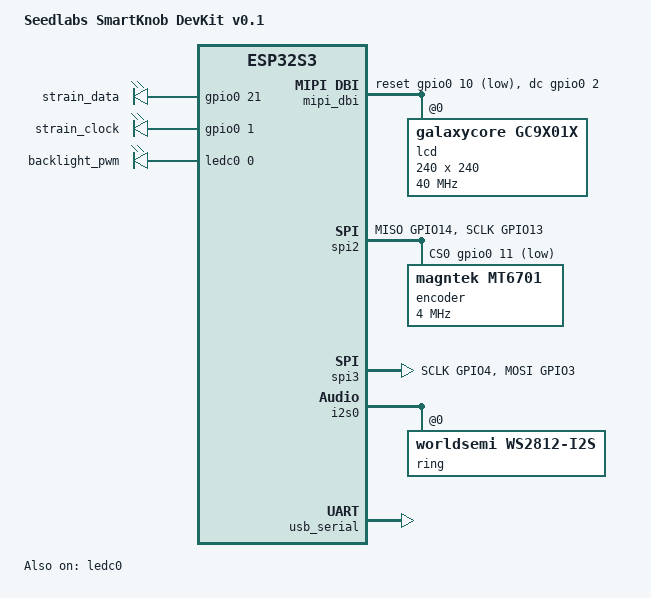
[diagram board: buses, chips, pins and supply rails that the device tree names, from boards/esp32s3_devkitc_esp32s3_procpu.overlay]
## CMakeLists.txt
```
cmake_minimum_required(VERSION 3.24)
# LVGL comes from Zephyr's own module (CONFIG_LVGL=y), configured in prj.conf.
set(ZEPHYR_MODULES "${CMAKE_CURRENT_LIST_DIR}/../../modules/hal/espressif"
  "${CMAKE_CURRENT_LIST_DIR}/../../modules/lib/gui/lvgl")
list(APPEND DTS_ROOT ${CMAKE_CURRENT_LIST_DIR})
find_package(Zephyr REQUIRED HINTS $ENV{ZEPHYR_BASE})
project(smartknob)
target_include_directories(app PRIVATE ../core/include src)
target_sources(app PRIVATE src/main.c src/motor.c src/sensors.c src/storage.c
  ../core/src/project.c ../core/src/haptics.c ../core/src/leds.c
  ../core/src/protocol.c ../core/src/render.c ../core/src/encoder.c
  ../core/src/motor_control.c)
```

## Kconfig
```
mainmenu "SmartKnob"
source "Kconfig.zephyr"
config SK_PRESS_THRESHOLD
    int "HX711 press threshold in raw ADC counts"
    default 50000
    range 100 8000000
config SK_MOTOR_DEADTIME_NS
    int "Motor gate dead time in nanoseconds"
    default 500
    range 250 1500
config SK_MOTOR_SUPPLY_MV
    int "Motor driver supply voltage in millivolts"
    default 5000
    range 3000 12000
    help
      Supply assumed by voltage-mode FOC when converting requested phase
      voltages to PWM duty. The Dev Kit drives the TMC6300 from USB 5 V.
config SK_MOTOR_CALIBRATION_MV
    int "Calibration alignment vector in millivolts"
    default 2000
    range 500 3000
    help
      d-axis voltage used to drag the rotor during calibration. Too little
      lets cogging and friction stop the rotor; the simulation in
      tests/motor_sim.c calibrates reliably from 2 V. No current sensing:
      the stall current is roughly this voltage over the phase resistance.
config SK_ENCODER_LOSS_POLICY
    int "MT6701 tracking-loss frame policy"
    default 1
    range 0 2
    help
      0: reject every CRC-valid frame that flags loss of tracking.
      1: accept it while its angle continues the last accepted angle and a
         clean frame arrived within the last 200 ms.
      2: accept it while its angle continues the last accepted angle; the
         factory firmware ignores the flag entirely.
      Rejected frames always turn the gates off for that period.
config SK_MOTOR_CONTINUOUS_MV
    int "Highest sustained motor voltage in millivolts (0 disables)"
    default 1500
    range 0 2500
    help
      Without current sensing the firmware estimates winding heating from
      the applied voltage (V^2, 4 s time constant). When it exceeds this
      rating, haptic torque tapers down to it, so holding an end stop at
      full force cannot heat the motor indefinitely. Clicks and press
      pulses are too short to trigger it; it recovers when the knob rests.
```

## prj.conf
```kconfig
CONFIG_GPIO=y
CONFIG_SPI=y
CONFIG_I2S=y
CONFIG_DMA=y
CONFIG_LED_STRIP=y
CONFIG_DISPLAY=y
# Zephyr's LVGL module. Draw buffer: 10% of the 240x240 panel at 16 bpp.
CONFIG_LVGL=y
CONFIG_LV_Z_BITS_PER_PIXEL=16
CONFIG_LV_Z_VDB_SIZE=10
CONFIG_LV_Z_MEM_POOL_SIZE=65536
# GC9A01 expects big-endian RGB565; the panel reports PIXEL_FORMAT_RGB_565.
CONFIG_LV_COLOR_16_SWAP=y
CONFIG_LV_FONT_MONTSERRAT_14=n
CONFIG_LV_FONT_MONTSERRAT_16=y
CONFIG_LV_FONT_MONTSERRAT_24=y
CONFIG_LV_FONT_MONTSERRAT_32=y
CONFIG_LV_FONT_DEFAULT_MONTSERRAT_16=y
CONFIG_LV_USE_LOG=n
CONFIG_LV_USE_THORVG_INTERNAL=n
CONFIG_LV_USE_VECTOR_GRAPHIC=n
CONFIG_SERIAL=y
CONFIG_UART_INTERRUPT_DRIVEN=y
CONFIG_CONSOLE=n
CONFIG_UART_CONSOLE=n
CONFIG_LOG=n
CONFIG_FLASH=y
CONFIG_FLASH_MAP=y
# Zephyr 4.5 no longer derives the image-header flash size from the module.
CONFIG_ESPTOOLPY_FLASHSIZE_16MB=y
CONFIG_NVS=y
CONFIG_NVS_DATA_CRC=y
CONFIG_PWM=y
CONFIG_MCPWM_ESP32=n
CONFIG_FPU=y
CONFIG_FPU_SHARING=y
CONFIG_PICOLIBC=y
CONFIG_MAIN_STACK_SIZE=8192
CONFIG_MAIN_THREAD_PRIORITY=7
CONFIG_SYSTEM_WORKQUEUE_STACK_SIZE=2048
CONFIG_HEAP_MEM_POOL_SIZE=8192
CONFIG_SYS_CLOCK_TICKS_PER_SEC=1000
CONFIG_ESP_SPIRAM=n
CONFIG_WIFI=n
CONFIG_BT=n
CONFIG_WATCHDOG=y
```

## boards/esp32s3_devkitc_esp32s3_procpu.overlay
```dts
#include <zephyr/dt-bindings/display/panel.h>
#include <zephyr/dt-bindings/led/led.h>
#include <zephyr/dt-bindings/pwm/pwm.h>
/ {
    model = "Seedlabs SmartKnob DevKit v0.1";
    chosen { zephyr,display = &lcd; };
    aliases { led-strip = &ring; };
    strain {
        compatible = "gpio-leds";
        strain_data: data { gpios = <&gpio0 21 GPIO_ACTIVE_HIGH>; };
        strain_clock: clock { gpios = <&gpio0 1 GPIO_ACTIVE_HIGH>; };
    };
    backlight { compatible = "pwm-leds"; backlight_pwm: backlight { pwms = <&ledc0 0 PWM_USEC(25) PWM_POLARITY_NORMAL>; }; };
    mipi_dbi {
        compatible = "zephyr,mipi-dbi-spi";
        #address-cells = <1>;
        #size-cells = <0>;
        spi-dev = <&spi3>;
        dc-gpios = <&gpio0 2 GPIO_ACTIVE_HIGH>;
        reset-gpios = <&gpio0 10 GPIO_ACTIVE_LOW>;
        lcd: display@0 {
            compatible = "galaxycore,gc9x01x";
            reg = <0>;
            mipi-max-frequency = <40000000>;
            pixel-format = <PANEL_PIXEL_FORMAT_RGB_565>;
            width = <240>;
            height = <240>;
            display-inversion;
        };
    };
};
&pinctrl {
    knob_encoder: encoder {
        group1 { pinmux = <SPIM2_MISO_GPIO14>, <SPIM2_SCLK_GPIO13>; };
    };
    knob_display: display {
        group1 { pinmux = <SPIM3_SCLK_GPIO4>; };
        group2 { pinmux = <SPIM3_MOSI_GPIO3>; output-low; };
    };
    knob_leds: leds {
        group1 { pinmux = <I2S0_O_SD_GPIO12>, <I2S0_O_WS_GPIO40>, <I2S0_O_BCK_GPIO41>; };
    };
    knob_backlight: backlight {
        group1 { pinmux = <LEDC_CH0_GPIO5>; output-low; };
    };
};
&spi2 {
    status = "okay";
    pinctrl-0 = <&knob_encoder>;
    cs-gpios = <&gpio0 11 GPIO_ACTIVE_LOW>;
    encoder: encoder@0 { compatible = "magntek,mt6701"; reg = <0>; spi-max-frequency = <4000000>; spi-cs-setup-delay-ns = <1000>; };
};
&spi3 {
    status = "okay";
    pinctrl-0 = <&knob_display>;
    cs-gpios = <&gpio0 9 GPIO_ACTIVE_LOW>;
};
&i2s0 {
    status = "okay";
    pinctrl-0 = <&knob_leds>;
    #address-cells = <1>;
    #size-cells = <0>;
    ring: led_strip@0 {
        reg = <0>;
        compatible = "worldsemi,ws2812-i2s";
        chain-length = <72>;
        color-mapping = <LED_COLOR_ID_GREEN LED_COLOR_ID_RED LED_COLOR_ID_BLUE>;
        reset-delay = <80>;
        nibble-one = <0x0c>;
        nibble-zero = <0x08>;
        lrck-period = <10>;
    };
};
&ledc0 {
    status = "okay";
    pinctrl-0 = <&knob_backlight>;
    pinctrl-names = "default";
    #address-cells = <1>;
    #size-cells = <0>;
    channel@0 { reg = <0>; timer = <0>; };
};
&usb_serial { status = "okay"; };
&usb_otg { status = "disabled"; };
&uart0 { status = "disabled"; };
&wifi { status = "disabled"; };
&esp32_bt_hci { status = "disabled"; };
&psram0 { size = <DT_SIZE_M(8)>; };
/* Zephyr 4.5 boards declare flash themselves; reg and ranges must match. */
&flash0 {
    reg = <0x0 DT_SIZE_M(16)>;
    ranges = <0x0 0x0 DT_SIZE_M(16)>;
    partitions {
        /delete-node/ partition@3b0000;
        storage_partition: partition@f00000 { label = "storage"; reg = <0xf00000 0x40000>; };
    };
};

&dma { status = "okay"; };
```

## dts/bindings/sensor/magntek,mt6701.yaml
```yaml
description: MagnTek MT6701 24-bit SSI absolute angle encoder
compatible: "magntek,mt6701"
include: spi-device.yaml
```

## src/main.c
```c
#include "hardware.h"
#include "sk_protocol.h"
#include "sk_render.h"
#include <string.h>
#include <zephyr/drivers/display.h>
#include <zephyr/drivers/led_strip.h>
#include <zephyr/drivers/pwm.h>
#include <zephyr/drivers/uart.h>
#include <zephyr/drivers/watchdog.h>
#include <zephyr/sys/atomic.h>
#include <zephyr/sys/ring_buffer.h>

static sk_project projects[2];
static unsigned active;
static const sk_view *view;
static sk_renderer renderer;
static sk_protocol protocol;
static uint8_t system_faults;
static bool motor_ready, strain_ready;
static uint16_t presses;
static uint32_t flash_until;
static const struct device *serial = DEVICE_DT_GET(DT_NODELABEL(usb_serial));
static const struct device *strip = DEVICE_DT_GET(DT_ALIAS(led_strip));
static const struct device *display = DEVICE_DT_GET(DT_CHOSEN(zephyr_display));
/* Zephyr's LVGL module creates the display, draw buffers and tick source,
 * and LV_COLOR_16_SWAP byte-swaps RGB565 for the GC9A01 before each flush.
 * Its own flush ignores display_write() errors, so this one records them. */
static void display_flush(lv_display_t *disp, const lv_area_t *area, uint8_t *map) {
    struct display_buffer_descriptor desc = {.width = lv_area_get_width(area),
                                             .height = lv_area_get_height(area),
                                             .frame_incomplete = !lv_display_flush_is_last(disp)};
    desc.pitch = desc.width;
    desc.buf_size = desc.width * desc.height * 2;
    if (display_write(display, area->x1, area->y1, &desc, map))
        system_faults |= FAULT_DISPLAY;
    lv_display_flush_ready(disp);
}
static const struct pwm_dt_spec backlight = PWM_DT_SPEC_GET(DT_NODELABEL(backlight_pwm));
RING_BUF_DECLARE(serial_rx, 8192);
static atomic_t rx_overflow;
static void serial_isr(const struct device *dev, void *arg) {
    (void)arg;
    uart_irq_update(dev);
    while (uart_irq_rx_ready(dev)) {
        uint8_t bytes[64];
        int n = uart_fifo_read(dev, bytes, sizeof(bytes));
        if (n <= 0)
            break;
        if (ring_buf_put(&serial_rx, bytes, n) != (uint32_t)n)
            atomic_set(&rx_overflow, 1);
    }
}
static void send(void *ctx, const uint8_t *bytes, size_t len) {
    (void)ctx;
    for (size_t i = 0; i < len; i++)
        uart_poll_out(serial, bytes[i]);
}
typedef struct {
    sk_led_config leds;
    sk_haptic_config haptic;
    int32_t position;
    float sub;
    uint32_t flash;
} led_state;
static led_state ring_state;
static struct k_spinlock led_lock;
static atomic_t led_fault;
static struct k_thread led_thread;
K_THREAD_STACK_DEFINE(led_stack, 2048);
static void led_run(void *a, void *b, void *c) {
    (void)a;
    (void)b;
    (void)c;
    while (true) {
        led_state s;
        k_spinlock_key_t key = k_spin_lock(&led_lock);
        s = ring_state;
        k_spin_unlock(&led_lock, key);
        sk_rgb colors[72];
        struct led_rgb pixels[72];
        sk_led_render(&s.leds, &s.haptic, s.position, s.sub, k_uptime_get_32(), s.flash, colors);
        for (int i = 0; i < 72; i++)
            pixels[i] = (struct led_rgb){.r = colors[i].r, .g = colors[i].g, .b = colors[i].b};
        atomic_set(&led_fault, led_strip_update_rgb(strip, pixels, 72) != 0);
        k_sleep(K_MSEC(33));
    }
}
static bool select_view(uint16_t id) {
    const sk_view *next = sk_find_view(&projects[active], id);
    if (!next)
        return false;
    motor_status s;
    motor_snapshot(&s);
    if (s.calibration == 1)
        return false;
    if (motor_ready && !motor_configure(&next->haptic))
        return false;
    view = next;
    sk_render_view(&renderer, view);
    if (view->leds.mode_flash)
        flash_until = k_uptime_get_32() + 180;
    return true;
}
static bool apply(void *ctx, const uint8_t *bytes, size_t len) {
    (void)ctx;
    motor_status s;
    motor_snapshot(&s);
    if (s.calibration == 1)
        return false;
    unsigned next = 1 - active;
    if (!sk_project_decode(bytes, len, &projects[next]))
        return false;
    /* Stay on the current view so live edits don't jump around, and only
     * reconfigure the motor (which resets position) if its haptics changed. */
    const sk_view *new_view = sk_view_after_upload(&projects[next], view ? view->id : 0);
    bool same_view = view && new_view->id == view->id;
    bool same_haptics = same_view && sk_haptic_equal(&new_view->haptic, &view->haptic);
    if (motor_ready && !same_haptics) {
        /* Editing the shown view's haptics keeps the knob's position. */
        sk_haptic_config config =
            same_view ? sk_haptic_with_position(&new_view->haptic, s.position) : new_view->haptic;
        if (!motor_configure(&config))
            return false;
    }
    active = next;
    view = new_view;
    sk_render_view(&renderer, view);
    if (!same_view && view->leds.mode_flash)
        flash_until = k_uptime_get_32() + 180;
    return true;
}
static bool save(void *ctx, const uint8_t *bytes, size_t len) {
    (void)ctx;
    motor_status s;
    motor_snapshot(&s);
    if (s.calibration == 1)
        return false;
    if (motor_ready && !motor_pause(true))
        return false;
    bool ok = storage_save(bytes, len);
    if (motor_ready)
        motor_pause(false);
    if (!ok)
        system_faults |= FAULT_STORAGE;
    return ok;
}
static void put32(uint8_t *p, uint32_t v) {
    for (int i = 0; i < 4; i++)
        p[i] = v >> (8 * i);
}
static void putfloat(uint8_t *p, float v) {
    uint32_t bits;
    memcpy(&bits, &v, 4);
    put32(p, bits);
}
static uint8_t command(void *ctx, uint8_t op, const uint8_t *bytes, size_t len, uint8_t *out,
                       size_t *out_len) {
    (void)ctx;
    if (op == SK_SELECT) {
        if (len != 2)
            return SK_INVALID;
        return select_view(bytes[0] | ((uint16_t)bytes[1] << 8)) ? SK_OK : SK_BUSY;
    }
    if (len)
        return SK_INVALID;
    if (op == SK_ENCODER_DIAGNOSTICS) {
        size_t n = encoder_diagnostic_text((char *)out, SK_MAX_PAYLOAD - 1);
        if (n + 2 < SK_MAX_PAYLOAD - 1) {
            out[n++] = '\n';
            n += motor_diagnostic_text((char *)out + n, SK_MAX_PAYLOAD - 1 - n);
        }
        *out_len = n;
        return SK_OK;
    }
    if (op == SK_STATE) {
        motor_status s;
        motor_snapshot(&s);
        memset(out, 0, 28);
        out[0] = view->id;
        out[1] = view->id >> 8;
        put32(out + 2, (uint32_t)s.position);
        putfloat(out + 6, s.sub);
        out[10] = s.faults | system_faults | (strain_failed() ? FAULT_STRAIN : 0) |
                  (atomic_get(&led_fault) ? FAULT_LED : 0);
        out[11] = s.calibration;
        put32(out + 12, s.loops);
        putfloat(out + 16, s.voltage);
        putfloat(out + 20, s.max_loop_us);
        out[24] = presses;
        out[25] = presses >> 8;
        *out_len = 28;
        return SK_OK;
    }
    if (op == SK_TARE)
        return strain_ready && strain_tare() ? SK_OK : SK_HARDWARE;
    if (!motor_ready)
        return SK_HARDWARE;
    if (op == SK_CALIBRATE)
        return motor_calibrate() ? SK_OK : SK_BUSY;
    if (op == SK_STOP)
        return motor_enable(false) ? SK_OK : SK_BUSY;
    if (op == SK_ENABLE) {
        motor_status s;
        motor_snapshot(&s);
        if (s.calibration != 2)
            return SK_HARDWARE;
        return motor_enable(true) ? SK_OK : SK_BUSY;
    }
    return SK_INVALID;
}
int main(void) {
    lv_display_t *disp = lv_display_get_default();
    if (!device_is_ready(display) || !disp)
        return -ENODEV;
    lv_display_set_flush_cb(disp, display_flush);
    if (storage_init())
        system_faults |= FAULT_STORAGE;
    motor_ready = motor_start() == 0;
    if (!motor_ready)
        system_faults |= FAULT_MOTOR;
    strain_ready = strain_start() == 0;
    if (!strain_ready)
        system_faults |= FAULT_STRAIN;
    sk_project_default(&projects[0]);
    sk_protocol_init(
        &protocol,
        (sk_protocol_ops){.send = send, .apply = apply, .save = save, .command = command});
    size_t len = storage_load(protocol.active, sizeof(protocol.active));
    if (len && sk_project_decode(protocol.active, len, &projects[1])) {
        active = 1;
        protocol.active_len = len;
    }
    select_view(projects[active].start_view);
    display_blanking_off(display);
    if (pwm_is_ready_dt(&backlight))
        pwm_set_pulse_dt(&backlight, backlight.period / 2);
    if (device_is_ready(serial)) {
        uart_irq_callback_user_data_set(serial, serial_isr, NULL);
        uart_irq_rx_enable(serial);
    }
    if (device_is_ready(strip))
        k_thread_create(&led_thread, led_stack, K_THREAD_STACK_SIZEOF(led_stack), led_run, NULL,
                        NULL, NULL, 8, K_FP_REGS, K_NO_WAIT);
    else
        system_faults |= FAULT_LED;
    const struct device *watchdog = DEVICE_DT_GET(DT_ALIAS(watchdog0));
    struct wdt_timeout_cfg timeout = {.window = {.min = 0, .max = 2000},
                                      .flags = WDT_FLAG_RESET_SOC};
    int watchdog_channel = wdt_install_timeout(watchdog, &timeout);
    if (watchdog_channel >= 0)
        wdt_setup(watchdog, WDT_OPT_PAUSE_HALTED_BY_DBG);
    uint32_t last_frame = 0;
    uint32_t last_calibration_save = 0, motor_seen_at = k_uptime_get_32(), motor_seen_loops = 0;
    while (true) {
        if (atomic_cas(&rx_overflow, 1, 0)) {
            unsigned key = irq_lock();
            ring_buf_reset(&serial_rx);
            irq_unlock(key);
            protocol.rx_len = 0;
            protocol.uploading = false;
        }
        uint8_t bytes[512];
        uint32_t n = ring_buf_get(&serial_rx, bytes, sizeof(bytes));
        if (n)
            sk_protocol_feed(&protocol, bytes, n);
        uint8_t event;
        while ((event = strain_event())) {
            if (event == 1) {
                presses++;
                motor_pulse(true, false);
                if (view->leds.press_flash)
                    flash_until = k_uptime_get_32() + 180;
            } else if (event == 3) {
                motor_pulse(true, true);
                if (view->on_long_press)
                    select_view(view->on_long_press);
            } else if (event == 2) {
                motor_pulse(false, false);
                if (view->on_press)
                    select_view(view->on_press);
            } else if (event == 4)
                motor_pulse(false, false);
        }
        if (motor_ready && motor_calibration_dirty() &&
            (last_calibration_save == 0 || k_uptime_get_32() - last_calibration_save >= 5000)) {
            last_calibration_save = k_uptime_get_32();
            sk_calibration cal;
            if (motor_get_calibration(&cal) && motor_pause(true)) {
                if (storage_save_calibration(&cal))
                    motor_calibration_saved();
                else
                    system_faults |= FAULT_STORAGE;
                motor_pause(false);
            }
        }
        uint32_t now = k_uptime_get_32();
        if (now - last_frame >= 33) {
            last_frame = now;
            motor_status s;
            motor_snapshot(&s);
            sk_render_value(&renderer, s.position, s.sub);
            lv_timer_handler();
            k_spinlock_key_t key = k_spin_lock(&led_lock);
            ring_state = (led_state){.leds = view->leds,
                                     .haptic = view->haptic,
                                     .position = s.position,
                                     .sub = s.sub,
                                     .flash = flash_until};
            k_spin_unlock(&led_lock, key);
        }
        motor_status alive;
        motor_snapshot(&alive);
        if (alive.loops != motor_seen_loops) {
            motor_seen_loops = alive.loops;
            motor_seen_at = now;
        }
        if (watchdog_channel >= 0 && (!motor_ready || now - motor_seen_at < 200))
            wdt_feed(watchdog, watchdog_channel);
        k_sleep(K_MSEC(1));
    }
}
```

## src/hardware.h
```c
#ifndef SK_HARDWARE_H
#define SK_HARDWARE_H
#include "sk.h"
#include <zephyr/kernel.h>
enum {
    FAULT_ENCODER = 1,
    FAULT_TIMING = 2,
    FAULT_MOTOR = 4,
    FAULT_STRAIN = 8,
    FAULT_LED = 16,
    FAULT_STORAGE = 32,
    FAULT_DISPLAY = 64
};
typedef struct {
    int32_t position;
    float sub, voltage, max_loop_us;
    uint32_t loops;
    uint8_t faults, calibration;
} motor_status;
int motor_start(void);
bool motor_configure(const sk_haptic_config *c);
bool motor_calibrate(void);
bool motor_enable(bool enable);
bool motor_pause(bool pause);
void motor_pulse(bool pressed, bool long_press);
void motor_snapshot(motor_status *out);
bool motor_get_calibration(sk_calibration *out);
bool motor_calibration_dirty(void);
void motor_calibration_saved(void);
size_t motor_diagnostic_text(char *out, size_t size);
int encoder_init(void);
int encoder_read(float *angle);
size_t encoder_diagnostic_text(char *out, size_t size);
int strain_start(void);
bool strain_tare(void);
uint8_t strain_event(void); /* 1 press, 2 release, 3 long, 4 long release */
bool strain_failed(void);
int storage_init(void);
size_t storage_load(uint8_t *out, size_t max);
bool storage_save(const uint8_t *data, size_t len);
bool storage_load_calibration(sk_calibration *out);
bool storage_save_calibration(const sk_calibration *c);
#endif
```

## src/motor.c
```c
#include "hardware.h"
#include "sk_motor.h"
#include <esp_rom_gpio.h>
#include <hal/mcpwm_ll.h>
#include <math.h>
#include <soc/gpio_sig_map.h>
#include <string.h>
#include <zephyr/drivers/clock_control.h>
#include <zephyr/drivers/gpio.h>
#include <zephyr/sys/atomic.h>
#include <zephyr/sys/printk.h>

/* Three operators share one 160 MHz center-aligned timer (20 kHz).
 * Two compare edges per phase produce complementary outputs with 500 ns
 * non-overlap on both transitions. Updates latch together at timer zero.
 * This controller exclusively owns MCPWM0; the generic PWM driver is disabled. */
#define PWM_PEAK 4000u
static const uint8_t pins[6] = {8, 16, 18, 7, 17, 15};
static mcpwm_dev_t *pwm;
static const struct device *gpio = DEVICE_DT_GET(DT_NODELABEL(gpio0));
static bool pwm_ready;
static void gates_off(void) {
    if (!pwm_ready)
        return;
    for (int phase = 0; phase < 3; phase++)
        for (int gen = 0; gen < 2; gen++)
            mcpwm_ll_gen_set_continue_force_level(pwm, phase, gen, 0);
}
static void gates_on(void) {
    for (int phase = 0; phase < 3; phase++)
        for (int gen = 0; gen < 2; gen++)
            mcpwm_ll_gen_disable_continue_force_action(pwm, phase, gen);
}
static void duties(const float duty[3]) {
    unsigned dead = (CONFIG_SK_MOTOR_DEADTIME_NS * 160u + 999u) / 1000u;
    unsigned key = irq_lock();
    /* Freeze all comparator latches while assembling the next vector. */
    pwm->update_cfg.global_up_en = 0;
    for (int phase = 0; phase < 3; phase++) {
        unsigned a, b;
        sk_pwm_compare(duty[phase], PWM_PEAK, dead, &a, &b);
        mcpwm_ll_operator_set_compare_value(pwm, phase, 0, a);
        mcpwm_ll_operator_set_compare_value(pwm, phase, 1, b);
    }
    pwm->update_cfg.global_up_en = 1;
    irq_unlock(key);
}
static int pwm_init(void) {
    if (!device_is_ready(gpio))
        return -ENODEV;
    for (int i = 0; i < 6; i++) {
        int rc = gpio_pin_configure(gpio, pins[i], GPIO_OUTPUT_INACTIVE);
        if (rc)
            return rc;
    }
    const struct device *clock = DEVICE_DT_GET(DT_CLOCKS_CTLR(DT_NODELABEL(mcpwm0)));
    int rc = clock_control_on(clock,
                              (clock_control_subsys_t)DT_CLOCKS_CELL(DT_NODELABEL(mcpwm0), offset));
    if (rc)
        return rc;
    pwm = MCPWM_LL_GET_HW(0);
    mcpwm_ll_group_enable_clock(0, true);
    mcpwm_ll_group_set_clock_source(0, MCPWM_TIMER_CLK_SRC_DEFAULT);
    mcpwm_ll_group_set_clock_prescale(0, 1);
    mcpwm_ll_timer_set_clock_prescale(pwm, 0, 1);
    mcpwm_ll_timer_set_count_mode(pwm, 0, MCPWM_TIMER_COUNT_MODE_UP_DOWN);
    /* Symmetric: the up-down counter turns at PWM_PEAK, matching the duty math. */
    mcpwm_ll_timer_set_peak(pwm, 0, PWM_PEAK, true);
    mcpwm_ll_timer_update_period_at_once(pwm, 0);
    for (int phase = 0; phase < 3; phase++) {
        mcpwm_ll_operator_connect_timer(pwm, phase, 0);
        for (int gen = 0; gen < 2; gen++) {
            mcpwm_ll_generator_reset_actions(pwm, phase, gen);
            mcpwm_ll_gen_set_continue_force_level(pwm, phase, gen, 0);
            mcpwm_ll_deadtime_bypass_path(pwm, phase, gen, true);
            mcpwm_ll_deadtime_invert_outpath(pwm, phase, gen, false);
            mcpwm_ll_deadtime_swap_out_path(pwm, phase, gen, false);
            mcpwm_ll_operator_stop_update_compare(pwm, phase, gen, false);
            mcpwm_ll_operator_enable_update_compare_on_tez(pwm, phase, gen, true);
            mcpwm_ll_generator_set_action_on_timer_event(
                pwm, phase, gen, MCPWM_TIMER_DIRECTION_UP, MCPWM_TIMER_EVENT_EMPTY,
                gen ? MCPWM_GEN_ACTION_LOW : MCPWM_GEN_ACTION_HIGH);
        }
        mcpwm_ll_generator_set_action_on_compare_event(pwm, phase, 0, MCPWM_TIMER_DIRECTION_UP, 0,
                                                       MCPWM_GEN_ACTION_LOW);
        mcpwm_ll_generator_set_action_on_compare_event(pwm, phase, 0, MCPWM_TIMER_DIRECTION_DOWN, 0,
                                                       MCPWM_GEN_ACTION_HIGH);
        mcpwm_ll_generator_set_action_on_compare_event(pwm, phase, 1, MCPWM_TIMER_DIRECTION_UP, 1,
                                                       MCPWM_GEN_ACTION_HIGH);
        mcpwm_ll_generator_set_action_on_compare_event(pwm, phase, 1, MCPWM_TIMER_DIRECTION_DOWN, 1,
                                                       MCPWM_GEN_ACTION_LOW);
        esp_rom_gpio_connect_out_signal(pins[phase * 2], PWM0_OUT0A_IDX + phase * 2, false, false);
        esp_rom_gpio_connect_out_signal(pins[phase * 2 + 1], PWM0_OUT0B_IDX + phase * 2, false,
                                        false);
    }
    pwm_ready = true;
    const float neutral[3] = {.5f, .5f, .5f};
    duties(neutral);
    mcpwm_ll_group_enable_shadow_mode(pwm);
    mcpwm_ll_group_flush_shadow(pwm);
    mcpwm_ll_timer_set_start_stop_command(pwm, 0, MCPWM_TIMER_START_NO_STOP);
    gates_off();
    return 0;
}

enum command_type { CMD_CONFIG, CMD_PULSE, CMD_CALIBRATE, CMD_ENABLE };
typedef struct {
    uint8_t type;
    bool press, long_press;
    sk_haptic_config config;
} motor_command;
K_MSGQ_DEFINE(commands, sizeof(motor_command), 8, 4);
static struct k_thread thread;
K_THREAD_STACK_DEFINE(stack, 4096);
static struct k_spinlock status_lock;
static motor_status status;
/* Copy of ctrl.calibration readable from other threads under status_lock. */
static sk_calibration calibration;
static sk_motor ctrl;
/* Calibration diagnostics readable from other threads under status_lock. */
static struct {
    uint8_t result;
    bool enabled;
    float measured_pairs, measured_travel, consistency, hysteresis, drift, thermal;
} diag;
static atomic_t pause_requested, paused, dirty, stop_requested;
K_SEM_DEFINE(control_tick, 0, 1);
static void timer_tick(struct k_timer *timer) {
    (void)timer;
    k_sem_give(&control_tick);
}
K_TIMER_DEFINE(control_timer, timer_tick, NULL);
static void snapshot(float elapsed, float voltage) {
    k_spinlock_key_t key = k_spin_lock(&status_lock);
    status.position = ctrl.haptic.position;
    status.sub = ctrl.haptic.sub_position;
    status.voltage = voltage;
    status.loops++;
    if (elapsed > status.max_loop_us)
        status.max_loop_us = elapsed;
    status.calibration = sk_motor_calibrating(&ctrl) ? 1 : ctrl.calibration.valid ? 2 : 0;
    calibration = ctrl.calibration;
    diag.result = ctrl.result;
    diag.enabled = ctrl.enabled;
    diag.measured_pairs = ctrl.measured_pairs;
    diag.measured_travel = ctrl.measured_travel;
    diag.consistency = ctrl.consistency;
    diag.hysteresis = ctrl.hysteresis;
    diag.drift = ctrl.drift;
    diag.thermal = sk_motor_thermal_load(&ctrl);
    k_spin_unlock(&status_lock, key);
}
static void fault(uint8_t value) {
    k_spinlock_key_t key = k_spin_lock(&status_lock);
    status.faults |= value;
    k_spin_unlock(&status_lock, key);
    gates_off();
    sk_motor_stop(&ctrl);
}
static void clear_faults(void) {
    k_spinlock_key_t key = k_spin_lock(&status_lock);
    status.faults = 0;
    k_spin_unlock(&status_lock, key);
}
static void apply(const sk_motor_output *out) {
    if (!out->drive) {
        gates_off();
        return;
    }
    duties(out->duty);
    gates_on();
}
static void run(void *a, void *b, void *c) {
    (void)a;
    (void)b;
    (void)c;
    float raw = 0;
    /* The Xtensa timer has a 32-bit CCOUNT, not a 64-bit cycle counter.
     * Unsigned deltas handle its wrap every ~17.9 s at 240 MHz. */
    uint32_t last = k_cycle_get_32();
    sk_encoder_health encoder_health = {0};
    while (true) {
        k_sem_take(&control_tick, K_FOREVER);
        uint32_t begin = k_cycle_get_32();
        float dt = (float)k_cyc_to_us_floor64((uint32_t)(begin - last)) / 1000000;
        last = begin;
        if (atomic_get(&stop_requested)) {
            gates_off();
            sk_motor_stop(&ctrl);
            k_msgq_purge(&commands);
            atomic_clear(&stop_requested);
        }
        if (atomic_get(&pause_requested)) {
            gates_off();
            atomic_set(&paused, 1);
            continue;
        }
        if (atomic_cas(&paused, 1, 0)) {
            last = k_cycle_get_32();
            dt = .001f;
            encoder_health = (sk_encoder_health){0};
        }
        int rc = encoder_read(&raw);
        bool latch_encoder = sk_encoder_should_latch(&encoder_health, rc == 0, k_uptime_get_32());
        if (rc) {
            /* Never drive from a rejected angle, even during a transient burst. */
            gates_off();
            if (latch_encoder)
                fault(FAULT_ENCODER);
            uint32_t elapsed = k_cyc_to_us_floor64((uint32_t)(k_cycle_get_32() - begin));
            snapshot(fmaxf(elapsed, dt * 1000000), 0);
            continue;
        }
        motor_command cmd;
        while (!k_msgq_get(&commands, &cmd, K_NO_WAIT)) {
            if (cmd.type == CMD_CONFIG) {
                sk_motor_configure(&ctrl, &cmd.config, raw);
            } else if (cmd.type == CMD_PULSE) {
                if (!sk_motor_calibrating(&ctrl))
                    sk_haptic_pulse(&ctrl.haptic, cmd.press, cmd.long_press);
            } else if (cmd.type == CMD_ENABLE) {
                if (ctrl.calibration.valid) {
                    clear_faults();
                    sk_motor_enable(&ctrl, raw);
                }
            } else {
                clear_faults();
                sk_motor_calibrate(&ctrl, raw);
            }
        }
        sk_motor_output out = {0};
        if (ctrl.enabled && (dt > .01f || dt <= 0)) {
            fault(FAULT_TIMING);
            sk_motor_step(&ctrl, raw, dt, &out);
        } else {
            enum sk_motor_event event = sk_motor_step(&ctrl, raw, dt, &out);
            if (event == SK_MOTOR_CALIBRATED)
                atomic_set(&dirty, 1);
            else if (event == SK_MOTOR_CALIBRATION_FAILED)
                fault(FAULT_MOTOR);
        }
        apply(&out);
        uint32_t elapsed = k_cyc_to_us_floor64((uint32_t)(k_cycle_get_32() - begin));
        snapshot(fmaxf(elapsed, dt * 1000000), out.q);
        if (elapsed > 3000 && ctrl.enabled)
            fault(FAULT_TIMING);
    }
}
int motor_start(void) {
    int rc = encoder_init();
    if (rc)
        return rc;
    rc = pwm_init();
    if (rc)
        return rc;
    sk_calibration stored = {0};
    storage_load_calibration(&stored);
    const sk_motor_limits limits = {.supply = CONFIG_SK_MOTOR_SUPPLY_MV / 1000.0f,
                                    .calibration_voltage = CONFIG_SK_MOTOR_CALIBRATION_MV / 1000.0f,
                                    .continuous_voltage = CONFIG_SK_MOTOR_CONTINUOUS_MV / 1000.0f};
    const sk_haptic_config default_config = {
        .mode = SK_FREE, .width_deg = 6, .snap = 1.1f, .endstop = .8f};
    float raw = 0;
    encoder_read(&raw);
    sk_motor_init(&ctrl, &limits, &stored, &default_config, raw);
    calibration = ctrl.calibration;
    k_timer_start(&control_timer, K_MSEC(1), K_MSEC(1));
    k_thread_create(&thread, stack, K_THREAD_STACK_SIZEOF(stack), run, NULL, NULL, NULL, 1,
                    K_FP_REGS, K_NO_WAIT);
    return 0;
}
bool motor_configure(const sk_haptic_config *c) {
    if (!sk_haptic_valid(c))
        return false;
    motor_command cmd = {.type = CMD_CONFIG, .config = *c};
    return k_msgq_put(&commands, &cmd, K_NO_WAIT) == 0;
}
void motor_pulse(bool press, bool long_press) {
    motor_command cmd = {.type = CMD_PULSE, .press = press, .long_press = long_press};
    k_msgq_put(&commands, &cmd, K_NO_WAIT);
}
bool motor_calibrate(void) {
    motor_status s;
    motor_snapshot(&s);
    if (s.calibration == 1)
        return false;
    motor_command cmd = {.type = CMD_CALIBRATE};
    return k_msgq_put(&commands, &cmd, K_NO_WAIT) == 0;
}
bool motor_enable(bool enable) {
    if (!enable) {
        atomic_set(&stop_requested, 1);
        return true;
    }
    motor_command cmd = {.type = CMD_ENABLE};
    return k_msgq_put(&commands, &cmd, K_NO_WAIT) == 0;
}
bool motor_pause(bool pause) {
    atomic_set(&pause_requested, pause);
    if (!pause)
        return true;
    for (int i = 0; i < 100; i++) {
        if (atomic_get(&paused))
            return true;
        k_sleep(K_MSEC(1));
    }
    atomic_clear(&pause_requested);
    return false;
}
void motor_snapshot(motor_status *out) {
    k_spinlock_key_t key = k_spin_lock(&status_lock);
    *out = status;
    k_spin_unlock(&status_lock, key);
}
bool motor_get_calibration(sk_calibration *out) {
    k_spinlock_key_t key = k_spin_lock(&status_lock);
    *out = calibration;
    k_spin_unlock(&status_lock, key);
    return out->valid;
}
bool motor_calibration_dirty(void) {
    return atomic_get(&dirty) != 0;
}
void motor_calibration_saved(void) {
    atomic_clear(&dirty);
}
static int milli(float v) {
    return isfinite(v) ? (int)lroundf(v * 1000) : 0;
}
size_t motor_diagnostic_text(char *out, size_t size) {
    if (!size)
        return 0;
    k_spinlock_key_t key = k_spin_lock(&status_lock);
    __typeof__(diag) d = diag;
    sk_calibration c = calibration;
    k_spin_unlock(&status_lock, key);
    /* Values in thousandths: pairs_x1000, angles in mrad. */
    int written = snprintk(out, size,
                           "Motor: enabled=%u cal=%s pp=%u dir=%d zero_mrad=%d pairs_x1000=%d "
                           "travel_mrad=%d consistency_x1000=%d hysteresis_mrad=%d drift_mrad=%d "
                           "thermal_pct=%d",
                           d.enabled, sk_calibration_result_name(d.result), c.pole_pairs,
                           c.direction, milli(c.zero_electrical), milli(d.measured_pairs),
                           milli(d.measured_travel), milli(d.consistency), milli(d.hysteresis),
                           milli(d.drift), (int)lroundf(d.thermal * 100));
    return written > 0 ? MIN((size_t)written, size - 1) : 0;
}
```

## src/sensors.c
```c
#include "hardware.h"
#include <math.h>
#include <string.h>
#include <zephyr/drivers/gpio.h>
#include <zephyr/drivers/spi.h>
#include <zephyr/sys/atomic.h>
#include <zephyr/sys/printk.h>
static const struct spi_dt_spec encoder = SPI_DT_SPEC_GET(
    DT_NODELABEL(encoder), SPI_OP_MODE_CONTROLLER | SPI_WORD_SET(8) | SPI_MODE_CPHA);
static const struct gpio_dt_spec strain_data = GPIO_DT_SPEC_GET(DT_NODELABEL(strain_data), gpios);
static const struct gpio_dt_spec strain_clock = GPIO_DT_SPEC_GET(DT_NODELABEL(strain_clock), gpios);
static struct k_spinlock encoder_lock;
static struct {
    uint32_t reads, valid, spi_errors, crc_errors, status_errors;
    int spi_rc;
    uint8_t raw[3], expected_crc;
    uint8_t last_bad[3], last_reason;
    uint32_t last_bad_ms;
    uint32_t bad_run, max_bad_run, loss_accepted;
} encoder_diag;
int encoder_init(void) {
    return spi_is_ready_dt(&encoder) ? 0 : -ENODEV;
}
static sk_encoder_track encoder_track;
int encoder_read(float *angle) {
    uint8_t bytes[3] = {0};
    struct spi_buf buffer = {.buf = bytes, .len = 3};
    struct spi_buf_set rx = {.buffers = &buffer, .count = 1};
    int rc = spi_read_dt(&encoder, &rx);
    uint8_t expected_crc = sk_mt6701_crc6(bytes);
    float decoded = 0;
    enum sk_mt6701_status status = rc ? SK_MT6701_CRC : sk_mt6701_parse(bytes, &decoded);
    bool valid = !rc && sk_encoder_accept(&encoder_track, status, decoded, k_uptime_get_32(),
                                          CONFIG_SK_ENCODER_LOSS_POLICY);
    k_spinlock_key_t key = k_spin_lock(&encoder_lock);
    encoder_diag.reads++;
    encoder_diag.spi_rc = rc;
    memcpy(encoder_diag.raw, bytes, sizeof(bytes));
    encoder_diag.expected_crc = expected_crc;
    if (rc)
        encoder_diag.spi_errors++;
    else if (status == SK_MT6701_CRC)
        encoder_diag.crc_errors++;
    else if (!valid)
        encoder_diag.status_errors++;
    else {
        encoder_diag.valid++;
        encoder_diag.bad_run = 0;
        if (status == SK_MT6701_LOSS)
            encoder_diag.loss_accepted++;
    }
    if (!valid) {
        encoder_diag.bad_run++;
        encoder_diag.max_bad_run = MAX(encoder_diag.max_bad_run, encoder_diag.bad_run);
        memcpy(encoder_diag.last_bad, bytes, sizeof(bytes));
        encoder_diag.last_reason = rc                         ? 1
                                   : status == SK_MT6701_CRC  ? 2
                                   : status == SK_MT6701_LOSS ? 3
                                                              : 4;
        encoder_diag.last_bad_ms = k_uptime_get_32();
    }
    k_spin_unlock(&encoder_lock, key);
    if (rc)
        return rc;
    if (!valid)
        return -EIO;
    *angle = decoded;
    return 0;
}
size_t encoder_diagnostic_text(char *out, size_t size) {
    if (!size)
        return 0;
    k_spinlock_key_t key = k_spin_lock(&encoder_lock);
    __typeof__(encoder_diag) d = encoder_diag;
    k_spin_unlock(&encoder_lock, key);
    int written =
        snprintk(out, size,
                 "Encoder: spi_rc=%d raw=%02X%02X%02X crc=%02X/%02X "
                 "loss=%u field=%u reads=%u valid=%u spi_err=%u crc_err=%u status_err=%u "
                 "last_bad=%02X%02X%02X reason=%s age_ms=%u bad_run=%u max_bad_run=%u loss_ok=%u",
                 d.spi_rc, d.raw[0], d.raw[1], d.raw[2], d.raw[2] & 63, d.expected_crc,
                 (d.raw[1] >> 1) & 1, (d.raw[2] >> 6) & 3, d.reads, d.valid, d.spi_errors,
                 d.crc_errors, d.status_errors, d.last_bad[0], d.last_bad[1], d.last_bad[2],
                 (const char *[]){"none", "spi", "crc", "loss", "reserved"}[d.last_reason],
                 d.last_reason ? k_uptime_get_32() - d.last_bad_ms : 0, d.bad_run, d.max_bad_run,
                 d.loss_accepted);
    return written > 0 ? MIN((size_t)written, size - 1) : 0;
}
K_MSGQ_DEFINE(press_events, sizeof(uint8_t), 16, 1);
static atomic_t tare_requested, strain_fault;
static struct k_thread strain_thread;
K_THREAD_STACK_DEFINE(strain_stack, 2048);
static int read_strain(int32_t *value) {
    int ready = gpio_pin_get_dt(&strain_data);
    if (ready < 0)
        return ready;
    if (ready)
        return -EAGAIN;
    uint32_t raw = 0;
    /* HX711 powers down if SCK stays high >60 us. Mask IRQs per pulse only. */
    for (int i = 0; i < 24; i++) {
        unsigned key = irq_lock();
        gpio_pin_set_dt(&strain_clock, 1);
        k_busy_wait(1);
        int bit = gpio_pin_get_dt(&strain_data);
        gpio_pin_set_dt(&strain_clock, 0);
        irq_unlock(key);
        k_busy_wait(1);
        if (bit < 0)
            return bit;
        raw = (raw << 1) | (bit != 0);
    }
    unsigned key = irq_lock();
    gpio_pin_set_dt(&strain_clock, 1);
    k_busy_wait(1);
    gpio_pin_set_dt(&strain_clock, 0);
    irq_unlock(key);
    *value = (int32_t)(raw & 0x800000 ? raw | 0xff000000 : raw);
    return 0;
}
static void emit(uint8_t event) {
    if (k_msgq_put(&press_events, &event, K_NO_WAIT))
        atomic_set(&strain_fault, 1);
}
static void strain_run(void *a, void *b, void *c) {
    (void)a;
    (void)b;
    (void)c;
    int64_t tare_sum = 0;
    unsigned samples = 0;
    float zero = 0, filtered = 0;
    bool pressed = false, long_sent = false;
    uint32_t pressed_at = 0, last_sample = k_uptime_get_32();
    while (true) {
        if (atomic_cas(&tare_requested, 1, 0)) {
            samples = 0;
            tare_sum = 0;
            if (pressed)
                emit(long_sent ? 4 : 2);
            pressed = false;
            long_sent = false;
        }
        int32_t raw = 0;
        int rc = read_strain(&raw);
        uint32_t now = k_uptime_get_32();
        if (!rc) {
            last_sample = now;
            atomic_clear(&strain_fault);
            if (samples < 16) {
                tare_sum += raw;
                samples++;
                if (samples == 16) {
                    zero = (float)tare_sum / 16;
                    filtered = zero;
                }
            } else {
                filtered += .35f * ((float)raw - filtered);
                /* Raw threshold is configurable; factory load-cell gains vary. */
                float force = fabsf(filtered - zero);
                if (!pressed && force > CONFIG_SK_PRESS_THRESHOLD) {
                    pressed = true;
                    long_sent = false;
                    pressed_at = now;
                    emit(1);
                }
                if (pressed && !long_sent && now - pressed_at >= 800) {
                    long_sent = true;
                    emit(3);
                }
                if (pressed && force < CONFIG_SK_PRESS_THRESHOLD * .55f) {
                    emit(long_sent ? 4 : 2);
                    pressed = false;
                }
                if (!pressed && force < CONFIG_SK_PRESS_THRESHOLD * .2f)
                    zero += .001f * (filtered - zero);
            }
        } else if (rc != -EAGAIN || now - last_sample > 1500)
            atomic_set(&strain_fault, 1);
        k_sleep(K_MSEC(2));
    }
}
int strain_start(void) {
    if (!gpio_is_ready_dt(&strain_data) || !gpio_is_ready_dt(&strain_clock))
        return -ENODEV;
    int rc = gpio_pin_configure_dt(&strain_data, GPIO_INPUT);
    if (rc)
        return rc;
    rc = gpio_pin_configure_dt(&strain_clock, GPIO_OUTPUT_INACTIVE);
    if (rc)
        return rc;
    k_thread_create(&strain_thread, strain_stack, K_THREAD_STACK_SIZEOF(strain_stack), strain_run,
                    NULL, NULL, NULL, 6, K_FP_REGS, K_NO_WAIT);
    return 0;
}
bool strain_tare(void) {
    atomic_set(&tare_requested, 1);
    return true;
}
uint8_t strain_event(void) {
    uint8_t e = 0;
    k_msgq_get(&press_events, &e, K_NO_WAIT);
    return e;
}
bool strain_failed(void) {
    return atomic_get(&strain_fault) != 0;
}
```

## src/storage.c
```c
#include "hardware.h"
#include <math.h>
#include <string.h>
#include <zephyr/drivers/flash.h>
#include <zephyr/kvss/nvs.h>
#include <zephyr/storage/flash_map.h>
static struct nvs_fs fs;
static bool ready;
int storage_init(void) {
    fs.flash_device = PARTITION_NODE_DEVICE(DT_NODELABEL(storage_partition));
    fs.offset = PARTITION_NODE_OFFSET(DT_NODELABEL(storage_partition));
    fs.sector_size = 32768;
    fs.sector_count = PARTITION_NODE_SIZE(DT_NODELABEL(storage_partition)) / fs.sector_size;
    int rc = nvs_mount(&fs);
    ready = !rc;
    return rc;
}
size_t storage_load(uint8_t *out, size_t max) {
    if (!ready)
        return 0;
    ssize_t len = nvs_read(&fs, 1, out, max);
    return len > 0 && (size_t)len <= max ? (size_t)len : 0;
}
bool storage_save(const uint8_t *data, size_t len) {
    if (!ready || len > SK_MAX_BUNDLE)
        return false;
    ssize_t rc = nvs_write(&fs, 1, data, len);
    /* NVS returns zero for an identical value. Commit metadata and CRC are
     * written after the payload, retaining the preceding record on power loss. */
    return rc == 0 || rc == (ssize_t)len;
}
bool storage_load_calibration(sk_calibration *out) {
    if (!ready)
        return false;
    uint8_t record[16];
    if (nvs_read(&fs, 2, record, sizeof(record)) != sizeof(record) || memcmp(record, "SKC1", 4))
        return false;
    uint32_t crc;
    memcpy(&crc, record + 12, 4);
    if (crc != sk_crc32(record, 12))
        return false;
    memcpy(&out->zero_electrical, record + 4, 4);
    out->pole_pairs = record[8];
    out->direction = (int8_t)record[9];
    out->valid = isfinite(out->zero_electrical) && fabsf(out->zero_electrical) <= SK_TAU &&
                 out->pole_pairs >= 3 && out->pole_pairs <= 12 &&
                 (out->direction == 1 || out->direction == -1);
    return out->valid;
}
bool storage_save_calibration(const sk_calibration *c) {
    if (!ready || !c->valid)
        return false;
    uint8_t record[16] = {0};
    memcpy(record, "SKC1", 4);
    memcpy(record + 4, &c->zero_electrical, 4);
    record[8] = c->pole_pairs;
    record[9] = c->direction;
    uint32_t crc = sk_crc32(record, 12);
    memcpy(record + 12, &crc, 4);
    ssize_t rc = nvs_write(&fs, 2, record, sizeof(record));
    return rc == 0 || rc == sizeof(record);
}
```
